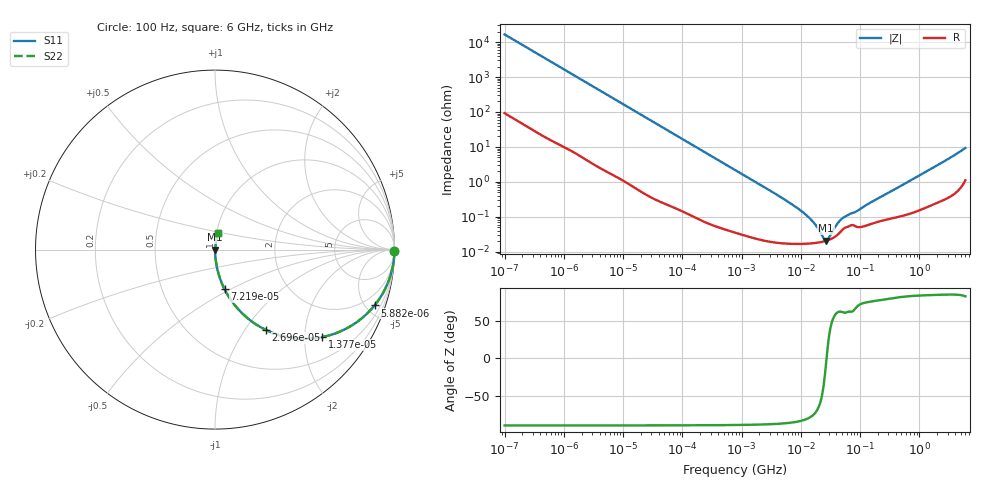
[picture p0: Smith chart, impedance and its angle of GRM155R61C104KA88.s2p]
!Murata Part Number: GRM155R61C104KA88
!These Parameters are Measured in Series Mode Connection
!Data Generated on Mar 30, 2021
!  o--ll--o
!Port1  Port2
!  o------o
!Operation Temp=25[degC], DC Bias Voltage=0[V]
!Freq. Start=100[Hz] Stop=6[GHz] 401[Steps]
# Hz S RI R 50
!Freq.(Hz) S11(Real) S11(Imag) S21(Real) S21(Imag) S12(Real) S12(Imag) S22(Real) S22(Imag)
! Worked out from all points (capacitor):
!   401 points, 100 Hz to 6 GHz, reference 50 ohm
!   read as one part in series: C = 96.3 nF near 109 Hz
!   lowest |Z| = 20.7 mohm at 26.62 MHz (marker M1)
!   series resonance near 27.16 MHz, so ESL is about 360 pH
!   S11 on the Smith chart (normalised r, x): 100 Hz: open; 5.882 kHz: 1.04, -5.70; 13.77 kHz: 1.02, -2.44; 26.96 kHz: 1.01, -1.25; 72.19 kHz: 1.00, -0.47; 6 GHz: 1.02, +0.19
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100  0.9999 -0.00606  7.07e-05 0.00606  7.07e-05 0.00606  0.9999 -0.00606
627  0.9984 -0.0377  0.00164 0.0377  0.00164 0.0377  0.9984 -0.0377
2008  0.985 -0.1185  0.015 0.1185  0.015 0.1185  0.985 -0.1185
5882  0.8887 -0.3114  0.1113 0.3114  0.1113 0.3114  0.8887 -0.3114
8801  0.7827 -0.4092  0.2173 0.4092  0.2173 0.4092  0.7827 -0.4092
13772  0.5978 -0.4871  0.4022 0.4871  0.4022 0.4871  0.5978 -0.4871
26957  0.2822 -0.447  0.7178 0.447  0.7178 0.447  0.2822 -0.447
40335  0.1506 -0.3543  0.8494 0.3543  0.8494 0.3543  0.1506 -0.3543
72189  0.0536 -0.2213  0.9464 0.2213  0.9464 0.2213  0.0536 -0.2213
193316  0.00849 -0.0871  0.9915 0.0871  0.9915 0.0871  0.00849 -0.0871
774597  0.00084 -0.0221  0.9992 0.0221  0.9992 0.0221  0.00084 -0.0221
6644369  0.000175 -0.00245  0.9998 0.00245  0.9998 0.00245  0.000175 -0.00245
1.087309e7  0.000171 -0.00134  0.9998 0.00134  0.9998 0.00134  0.000171 -0.00134
1.555665e7  0.000176 -0.000749  0.9998 0.000749  0.9998 0.000749  0.000176 -0.000749
1.86079e7  0.000181 -0.000495  0.9998 0.000495  0.9998 0.000495  0.000181 -0.000495
2.434276e7  0.000198 -0.000141  0.9998 0.000141  0.9998 0.000141  0.000198 -0.000141
2.662322e7  0.000206 -2.54e-05  0.9998 2.54e-05  0.9998 2.54e-05  0.000206 -2.54e-05
2.911731e7  0.000216 8.98e-05  0.9998 -8.98e-05  0.9998 -8.98e-05  0.000216 8.98e-05
3.983537e7  0.000288 0.000508  0.9997 -0.000508  0.9997 -0.000508  0.000288 0.000508
5.211241e7  0.000452 0.000837  0.9995 -0.000837  0.9995 -0.000837  0.000452 0.000837
3.124326e8  0.000895 0.00497  0.9991 -0.00497  0.9991 -0.00497  0.000895 0.00497
6e9  0.0193 0.0901  0.9807 -0.0901  0.9807 -0.0901  0.0193 0.0901
